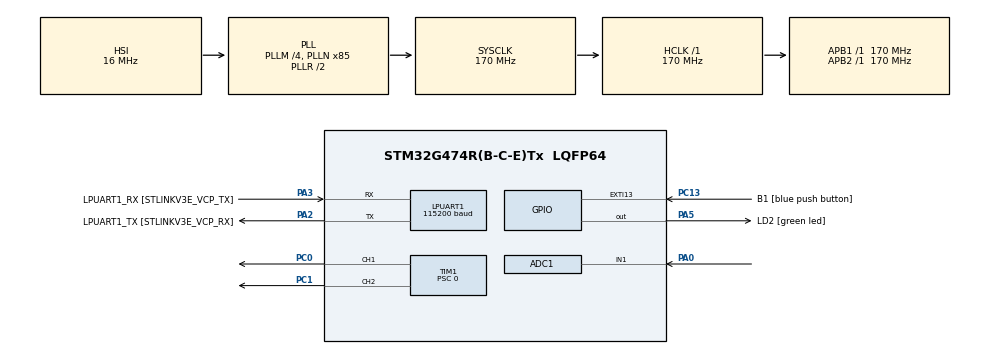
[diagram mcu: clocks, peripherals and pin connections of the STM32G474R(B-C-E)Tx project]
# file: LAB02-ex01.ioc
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ADC1.NbrOfConversionFlag=1
ADC1.master=1
LPUART1.BaudRate=115200
LPUART1.WordLength=UART_WORDLENGTH_8B
Mcu.Family=STM32G4
Mcu.Name=STM32G474R(B-C-E)Tx
Mcu.Package=LQFP64
NVIC.ADC1_2_IRQn=true\:0\:0\:false\:false\:true\:true\:true\:true
NVIC.EXTI15_10_IRQn=true\:0\:0\:false\:false\:true\:true\:true\:true
NVIC.PriorityGroup=NVIC_PRIORITYGROUP_4
PA0.Mode=IN1-Single-Ended
PA0.Signal=ADC1_IN1
PA13.GPIO_Label=T_SWDIO
PA13.Mode=Serial_Wire
PA13.Signal=SYS_JTMS-SWDIO
PA14.GPIO_Label=T_SWCLK
PA14.Mode=Serial_Wire
PA14.Signal=SYS_JTCK-SWCLK
PA2.GPIO_Label=LPUART1_TX [STLINKV3E_VCP_RX]
PA2.Mode=Asynchronous
PA2.Signal=LPUART1_TX
PA3.GPIO_Label=LPUART1_RX [STLINKV3E_VCP_TX]
PA3.Mode=Asynchronous
PA3.Signal=LPUART1_RX
PA5.GPIO_Label=LD2 [green led]
PA5.Signal=GPIO_Output
PB3.GPIO_Label=T_SWO
PB3.Signal=SYS_JTDO-SWO
PC0.Signal=S_TIM1_CH1
PC1.Signal=S_TIM1_CH2
PC13.GPIO_Label=B1 [blue push button]
PC13.Signal=GPXTI13
PC14-OSC32_IN.Mode=LSE-External-Oscillator
PC14-OSC32_IN.Signal=RCC_OSC32_IN
PC15-OSC32_OUT.Mode=LSE-External-Oscillator
PC15-OSC32_OUT.Signal=RCC_OSC32_OUT
PF0-OSC_IN.Mode=HSE-External-Oscillator
PF0-OSC_IN.Signal=RCC_OSC_IN
PF1-OSC_OUT.Mode=HSE-External-Oscillator
PF1-OSC_OUT.Signal=RCC_OSC_OUT
ProjectManager.HeapSize=0x200
ProjectManager.StackSize=0x400
ProjectManager.TargetToolchain=STM32CubeIDE
RCC.ADC12Freq_Value=170000000
RCC.ADC345Freq_Value=170000000
RCC.AHBFreq_Value=170000000
RCC.APB1Freq_Value=170000000
RCC.APB1TimFreq_Value=170000000
RCC.APB2Freq_Value=170000000
RCC.APB2TimFreq_Value=170000000
RCC.CortexFreq_Value=170000000
RCC.EXTERNAL_CLOCK_VALUE=12288000
RCC.HCLKFreq_Value=170000000
RCC.HSE_VALUE=24000000
RCC.HSI48_VALUE=48000000
RCC.HSI_VALUE=16000000
RCC.PLLM=RCC_PLLM_DIV4
RCC.PLLN=85
RCC.RTCClockSelection=RCC_RTCCLKSOURCE_LSE
RCC.SYSCLKFreq_VALUE=170000000
RCC.SYSCLKSource=RCC_SYSCLKSOURCE_PLLCLK
RCC.USBFreq_Value=170000000
RCC.VCOOutputFreq_Value=340000000
SH.S_TIM1_CH1.0=TIM1_CH1,PWM Generation1 CH1
SH.S_TIM1_CH2.0=TIM1_CH2,PWM Generation2 CH2
TIM1.Channel-PWM\ Generation1\ CH1=TIM_CHANNEL_1
TIM1.Channel-PWM\ Generation2\ CH2=TIM_CHANNEL_2
TIM1.Prescaler=0
VP_SYS_VS_DBSignals.Mode=DisableDeadBatterySignals
VP_TIM1_VS_ClockSourceINT.Mode=Internal
board=NUCLEO-G474RE

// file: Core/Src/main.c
/* USER CODE BEGIN Header */
/**
  ******************************************************************************
  * @file           : main.c
  * @brief          : Main program body
  ******************************************************************************
  * @attention
  *
  * Copyright (c) 2024 STMicroelectronics.
  * All rights reserved.
  *
  * This software is licensed under terms that can be found in the LICENSE file
  * in the root directory of this software component.
  * If no LICENSE file comes with this software, it is provided AS-IS.
  *
  ******************************************************************************
  */
/* USER CODE END Header */
#include "main.h"

ADC_HandleTypeDef hadc1;

UART_HandleTypeDef hlpuart1;

TIM_HandleTypeDef htim1;

/* USER CODE BEGIN PV */
//uint16_t ADC_RawRead[40]={

float anglepi;
int angle, PWM1, PWM2;

struct _ADC_tag {
ADC_ChannelConfTypeDef Config;
uint16_t data;
};
uint8_t Current_Channel = 0;

struct _ADC_tag ADC[1] = {
{
.Config.Channel = ADC_CHANNEL_1,
.Config.Rank = ADC_REGULAR_RANK_1,
.Config.SamplingTime = ADC_SAMPLETIME_640CYCLES_5,
.Config.SingleDiff = ADC_SINGLE_ENDED,
.Config.OffsetNumber = ADC_OFFSET_NONE,
.Config.Offset = 0,
.data = 0
}

};

/* USER CODE END PV */

void SystemClock_Config(void);
static void MX_GPIO_Init(void);
static void MX_LPUART1_UART_Init(void);
static void MX_ADC1_Init(void);
static void MX_TIM1_Init(void);

int main(void)
{

  /* MCU Configuration--------------------------------------------------------*/

  /* Reset of all peripherals, Initializes the Flash interface and the Systick. */
  HAL_Init();

  /* Configure the system clock */
  SystemClock_Config();

  /* Initialize all configured peripherals */
  MX_GPIO_Init();
  MX_LPUART1_UART_Init();
  MX_ADC1_Init();
  MX_TIM1_Init();
  /* USER CODE BEGIN 2 */
  HAL_ADCEx_Calibration_Start(&hadc1, ADC_SINGLE_ENDED);
  HAL_ADC_Start_IT(&hadc1);

  HAL_TIM_Base_Start(&htim1);
  HAL_TIM_PWM_Start(&htim1, TIM_CHANNEL_1);
  HAL_TIM_PWM_Start(&htim1, TIM_CHANNEL_2);

  /* USER CODE END 2 */

  /* Infinite loop */
  while (1)
  {

    /* USER CODE BEGIN 3 */
	  angle = (ADC[0].data / 4095.0) * 360.0;
	  anglepi = (ADC[0].data / 4095.0) * 3.14;

	  __HAL_TIM_SET_COMPARE(&htim1, TIM_CHANNEL_1, PWM1);
	  __HAL_TIM_SET_COMPARE(&htim1, TIM_CHANNEL_2, PWM2);

  }
  /* USER CODE END 3 */
}

void SystemClock_Config(void)
{
  RCC_OscInitTypeDef RCC_OscInitStruct = {0};
  RCC_ClkInitTypeDef RCC_ClkInitStruct = {0};

  /** Configure the main internal regulator output voltage
  */
  HAL_PWREx_ControlVoltageScaling(PWR_REGULATOR_VOLTAGE_SCALE1_BOOST);

  /** Initializes the RCC Oscillators according to the specified parameters
  * in the RCC_OscInitTypeDef structure.
  */
  RCC_OscInitStruct.OscillatorType = RCC_OSCILLATORTYPE_HSI;
  RCC_OscInitStruct.HSIState = RCC_HSI_ON;
  RCC_OscInitStruct.HSICalibrationValue = RCC_HSICALIBRATION_DEFAULT;
  RCC_OscInitStruct.PLL.PLLState = RCC_PLL_ON;
  RCC_OscInitStruct.PLL.PLLSource = RCC_PLLSOURCE_HSI;
  RCC_OscInitStruct.PLL.PLLM = RCC_PLLM_DIV4;
  RCC_OscInitStruct.PLL.PLLN = 85;
  RCC_OscInitStruct.PLL.PLLP = RCC_PLLP_DIV2;
  RCC_OscInitStruct.PLL.PLLQ = RCC_PLLQ_DIV2;
  RCC_OscInitStruct.PLL.PLLR = RCC_PLLR_DIV2;
  if (HAL_RCC_OscConfig(&RCC_OscInitStruct) != HAL_OK)
  {
    Error_Handler();
  }

  /** Initializes the CPU, AHB and APB buses clocks
  */
  RCC_ClkInitStruct.ClockType = RCC_CLOCKTYPE_HCLK|RCC_CLOCKTYPE_SYSCLK
                              |RCC_CLOCKTYPE_PCLK1|RCC_CLOCKTYPE_PCLK2;
  RCC_ClkInitStruct.SYSCLKSource = RCC_SYSCLKSOURCE_PLLCLK;
  RCC_ClkInitStruct.AHBCLKDivider = RCC_SYSCLK_DIV1;
  RCC_ClkInitStruct.APB1CLKDivider = RCC_HCLK_DIV1;
  RCC_ClkInitStruct.APB2CLKDivider = RCC_HCLK_DIV1;

  if (HAL_RCC_ClockConfig(&RCC_ClkInitStruct, FLASH_LATENCY_4) != HAL_OK)
  {
    Error_Handler();
  }
}

static void MX_ADC1_Init(void)
{

  ADC_MultiModeTypeDef multimode = {0};
  ADC_ChannelConfTypeDef sConfig = {0};

  /** Common config
  */
  hadc1.Instance = ADC1;
  hadc1.Init.ClockPrescaler = ADC_CLOCK_SYNC_PCLK_DIV4;
  hadc1.Init.Resolution = ADC_RESOLUTION_12B;
  hadc1.Init.DataAlign = ADC_DATAALIGN_RIGHT;
  hadc1.Init.GainCompensation = 0;
  hadc1.Init.ScanConvMode = ADC_SCAN_DISABLE;
  hadc1.Init.EOCSelection = ADC_EOC_SINGLE_CONV;
  hadc1.Init.LowPowerAutoWait = DISABLE;
  hadc1.Init.ContinuousConvMode = DISABLE;
  hadc1.Init.NbrOfConversion = 1;
  hadc1.Init.DiscontinuousConvMode = DISABLE;
  hadc1.Init.ExternalTrigConv = ADC_SOFTWARE_START;
  hadc1.Init.ExternalTrigConvEdge = ADC_EXTERNALTRIGCONVEDGE_NONE;
  hadc1.Init.DMAContinuousRequests = DISABLE;
  hadc1.Init.Overrun = ADC_OVR_DATA_PRESERVED;
  hadc1.Init.OversamplingMode = DISABLE;
  if (HAL_ADC_Init(&hadc1) != HAL_OK)
  {
    Error_Handler();
  }

  /** Configure the ADC multi-mode
  */
  multimode.Mode = ADC_MODE_INDEPENDENT;
  if (HAL_ADCEx_MultiModeConfigChannel(&hadc1, &multimode) != HAL_OK)
  {
    Error_Handler();
  }

  /** Configure Regular Channel
  */
  sConfig.Channel = ADC_CHANNEL_1;
  sConfig.Rank = ADC_REGULAR_RANK_1;
  sConfig.SamplingTime = ADC_SAMPLETIME_2CYCLES_5;
  sConfig.SingleDiff = ADC_SINGLE_ENDED;
  sConfig.OffsetNumber = ADC_OFFSET_NONE;
  sConfig.Offset = 0;
  if (HAL_ADC_ConfigChannel(&hadc1, &sConfig) != HAL_OK)
  {
    Error_Handler();
  }

}

static void MX_LPUART1_UART_Init(void)
{

  hlpuart1.Instance = LPUART1;
  hlpuart1.Init.BaudRate = 115200;
  hlpuart1.Init.WordLength = UART_WORDLENGTH_8B;
  hlpuart1.Init.StopBits = UART_STOPBITS_1;
  hlpuart1.Init.Parity = UART_PARITY_NONE;
  hlpuart1.Init.Mode = UART_MODE_TX_RX;
  hlpuart1.Init.HwFlowCtl = UART_HWCONTROL_NONE;
  hlpuart1.Init.OneBitSampling = UART_ONE_BIT_SAMPLE_DISABLE;
  hlpuart1.Init.ClockPrescaler = UART_PRESCALER_DIV1;
  hlpuart1.AdvancedInit.AdvFeatureInit = UART_ADVFEATURE_NO_INIT;
  if (HAL_UART_Init(&hlpuart1) != HAL_OK)
  {
    Error_Handler();
  }
  if (HAL_UARTEx_SetTxFifoThreshold(&hlpuart1, UART_TXFIFO_THRESHOLD_1_8) != HAL_OK)
  {
    Error_Handler();
  }
  if (HAL_UARTEx_SetRxFifoThreshold(&hlpuart1, UART_RXFIFO_THRESHOLD_1_8) != HAL_OK)
  {
    Error_Handler();
  }
  if (HAL_UARTEx_DisableFifoMode(&hlpuart1) != HAL_OK)
  {
    Error_Handler();
  }

}

static void MX_TIM1_Init(void)
{

  TIM_ClockConfigTypeDef sClockSourceConfig = {0};
  TIM_MasterConfigTypeDef sMasterConfig = {0};
  TIM_OC_InitTypeDef sConfigOC = {0};
  TIM_BreakDeadTimeConfigTypeDef sBreakDeadTimeConfig = {0};

  htim1.Instance = TIM1;
  htim1.Init.Prescaler = 0;
  htim1.Init.CounterMode = TIM_COUNTERMODE_UP;
  htim1.Init.Period = 65535;
  htim1.Init.ClockDivision = TIM_CLOCKDIVISION_DIV1;
  htim1.Init.RepetitionCounter = 0;
  htim1.Init.AutoReloadPreload = TIM_AUTORELOAD_PRELOAD_DISABLE;
  if (HAL_TIM_Base_Init(&htim1) != HAL_OK)
  {
    Error_Handler();
  }
  sClockSourceConfig.ClockSource = TIM_CLOCKSOURCE_INTERNAL;
  if (HAL_TIM_ConfigClockSource(&htim1, &sClockSourceConfig) != HAL_OK)
  {
    Error_Handler();
  }
  if (HAL_TIM_PWM_Init(&htim1) != HAL_OK)
  {
    Error_Handler();
  }
  sMasterConfig.MasterOutputTrigger = TIM_TRGO_RESET;
  sMasterConfig.MasterOutputTrigger2 = TIM_TRGO2_RESET;
  sMasterConfig.MasterSlaveMode = TIM_MASTERSLAVEMODE_DISABLE;
  if (HAL_TIMEx_MasterConfigSynchronization(&htim1, &sMasterConfig) != HAL_OK)
  {
    Error_Handler();
  }
  sConfigOC.OCMode = TIM_OCMODE_PWM1;
  sConfigOC.Pulse = 0;
  sConfigOC.OCPolarity = TIM_OCPOLARITY_HIGH;
  sConfigOC.OCNPolarity = TIM_OCNPOLARITY_HIGH;
  sConfigOC.OCFastMode = TIM_OCFAST_DISABLE;
  sConfigOC.OCIdleState = TIM_OCIDLESTATE_RESET;
  sConfigOC.OCNIdleState = TIM_OCNIDLESTATE_RESET;
  if (HAL_TIM_PWM_ConfigChannel(&htim1, &sConfigOC, TIM_CHANNEL_1) != HAL_OK)
  {
    Error_Handler();
  }
  if (HAL_TIM_PWM_ConfigChannel(&htim1, &sConfigOC, TIM_CHANNEL_2) != HAL_OK)
  {
    Error_Handler();
  }
  sBreakDeadTimeConfig.OffStateRunMode = TIM_OSSR_DISABLE;
  sBreakDeadTimeConfig.OffStateIDLEMode = TIM_OSSI_DISABLE;
  sBreakDeadTimeConfig.LockLevel = TIM_LOCKLEVEL_OFF;
  sBreakDeadTimeConfig.DeadTime = 0;
  sBreakDeadTimeConfig.BreakState = TIM_BREAK_DISABLE;
  sBreakDeadTimeConfig.BreakPolarity = TIM_BREAKPOLARITY_HIGH;
  sBreakDeadTimeConfig.BreakFilter = 0;
  sBreakDeadTimeConfig.BreakAFMode = TIM_BREAK_AFMODE_INPUT;
  sBreakDeadTimeConfig.Break2State = TIM_BREAK2_DISABLE;
  sBreakDeadTimeConfig.Break2Polarity = TIM_BREAK2POLARITY_HIGH;
  sBreakDeadTimeConfig.Break2Filter = 0;
  sBreakDeadTimeConfig.Break2AFMode = TIM_BREAK_AFMODE_INPUT;
  sBreakDeadTimeConfig.AutomaticOutput = TIM_AUTOMATICOUTPUT_DISABLE;
  if (HAL_TIMEx_ConfigBreakDeadTime(&htim1, &sBreakDeadTimeConfig) != HAL_OK)
  {
    Error_Handler();
  }
  HAL_TIM_MspPostInit(&htim1);

}

static void MX_GPIO_Init(void)
{
  GPIO_InitTypeDef GPIO_InitStruct = {0};

  /* GPIO Ports Clock Enable */
  __HAL_RCC_GPIOC_CLK_ENABLE();
  __HAL_RCC_GPIOF_CLK_ENABLE();
  __HAL_RCC_GPIOA_CLK_ENABLE();
  __HAL_RCC_GPIOB_CLK_ENABLE();

  /*Configure GPIO pin Output Level */
  HAL_GPIO_WritePin(LD2_GPIO_Port, LD2_Pin, GPIO_PIN_RESET);

  /*Configure GPIO pin : B1_Pin */
  GPIO_InitStruct.Pin = B1_Pin;
  GPIO_InitStruct.Mode = GPIO_MODE_IT_RISING;
  GPIO_InitStruct.Pull = GPIO_NOPULL;
  HAL_GPIO_Init(B1_GPIO_Port, &GPIO_InitStruct);

  /*Configure GPIO pin : LD2_Pin */
  GPIO_InitStruct.Pin = LD2_Pin;
  GPIO_InitStruct.Mode = GPIO_MODE_OUTPUT_PP;
  GPIO_InitStruct.Pull = GPIO_NOPULL;
  GPIO_InitStruct.Speed = GPIO_SPEED_FREQ_LOW;
  HAL_GPIO_Init(LD2_GPIO_Port, &GPIO_InitStruct);

  /* EXTI interrupt init*/
  HAL_NVIC_SetPriority(EXTI15_10_IRQn, 0, 0);
  HAL_NVIC_EnableIRQ(EXTI15_10_IRQn);

}

/* USER CODE BEGIN 4 */
void HAL_ADC_ConvCpltCallback(ADC_HandleTypeDef *hadc)
{
if(hadc == &hadc1)
{
ADC[Current_Channel].data= HAL_ADC_GetValue(&hadc1);
//change channel
Current_Channel++;
Current_Channel %= 1;
HAL_ADC_ConfigChannel(&hadc1,&ADC[Current_Channel].Config);
//start next ADC
HAL_ADC_Start_IT(&hadc1);
}
}

/* USER CODE END 4 */

void Error_Handler(void)
{
  __disable_irq();
  while (1)
  {
  }
}
